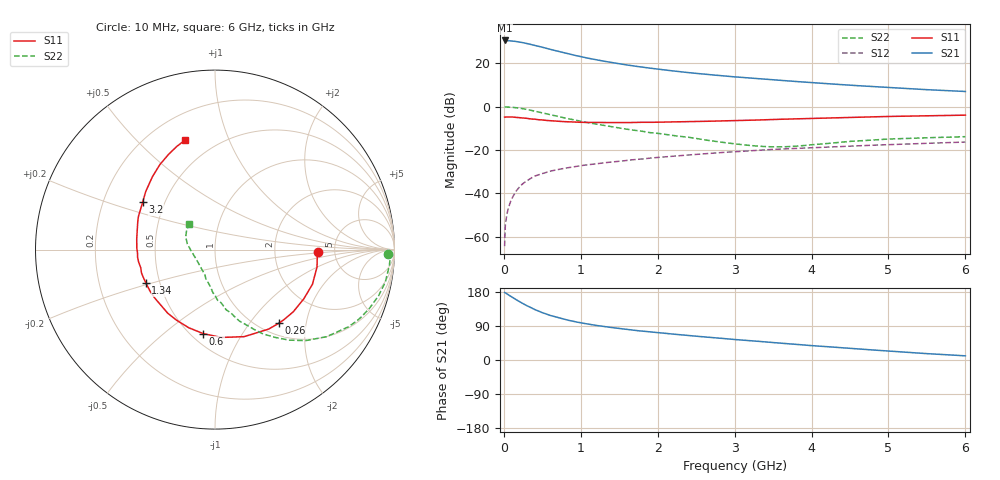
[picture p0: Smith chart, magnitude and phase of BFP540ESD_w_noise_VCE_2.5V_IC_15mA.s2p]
! Infineon Technologies  Discrete & RF Semiconductors
! BFP540ESD
! VCE =  2.5 V,  IC =  15 mA
! Common Emitter S-Parameters:  Nov 2015
# GHz  S  MA  R  50
!  f  S11  S21  S12  S22
! GHz  MAG  ANG  MAG  ANG  MAG  ANG  MAG  ANG
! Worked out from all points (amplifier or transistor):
!   210 points, 10 MHz to 6 GHz, reference 50 ohm
!   highest |S21| = 30.5 dB at 10 MHz (marker M1)
!   |S21| within 3 dB of that: start of sweep to 485.5 MHz
!   unconditionally stable (mu >= 1): start of sweep to 10.9 MHz; 2.37 GHz to end of sweep
!   at 185 MHz: K = 0.17, MSG = 33.9 dB, |S12| = -37.9 dB
!   at 1.52 GHz: K = 0.83, MSG = 22.4 dB, |S12| = -25.2 dB
!   at 6 GHz: K = 1.13, MAG = 9.5 dB, |S12| = -16.4 dB
!   lowest NFmin = 1.03 dB at 900 MHz
!   S11 on the Smith chart (normalised r, x): 10 MHz: 3.68, -0.16; 260 MHz: 1.21, -1.41; 600 MHz: 0.57, -0.69; 1.34 GHz: 0.42, -0.19; 3.2 GHz: 0.38, +0.26; 6 GHz: 0.35, +0.71
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0.01  0.573 -1.5  33.5 178.1  0.0006 97.5  0.9625 -1.4
0.02  0.5712 -4.3  32.96 177.3  0.0019 69.2  0.978 -1.8
0.035  0.5733 -7.0  33 175.2  0.0029 84.9  0.9764 -3.5
0.1  0.5763 -19.6  32.69 166.8  0.0072 83.0  0.9661 -10.7
0.145  0.566 -28.1  32.01 161.1  0.0102 77.8  0.9485 -15.3
0.2  0.5569 -38.5  30.91 154.4  0.0137 74.7  0.9204 -20.9
0.26  0.5431 -49.1  29.5 147.6  0.0173 72.4  0.8852 -26.6
0.3  0.5342 -56.0  28.54 143.2  0.0193 70.7  0.8585 -30.1
0.4  0.5115 -71.5  25.86 133.4  0.0248 65.8  0.7884 -38.0
0.5  0.4907 -85.9  23.39 124.9  0.0284 62.1  0.7168 -45.0
0.6  0.4726 -98.0  20.93 117.8  0.0322 58.3  0.6516 -50.7
0.8  0.4478 -118.7  17.07 106.5  0.0379 55.9  0.5411 -60.3
1.02  0.4318 -135.8  13.92 97.4  0.0437 53.5  0.4494 -67.9
1.34  0.4276 -154.4  10.83 87.4  0.0511 51.8  0.3554 -77.2
1.7  0.4313 -170.9  8.585 78.2  0.0598 50.3  0.2837 -86.9
2.02  0.436 178.1  7.23 71.7  0.067 48.7  0.2385 -93.0
2.54  0.4521 162.9  5.733 62.1  0.0796 45.8  0.1781 -104.8
3.1  0.4768 148.9  4.693 52.6  0.0928 42.0  0.1318 -123.8
3.2  0.4824 146.6  4.547 51.1  0.0953 41.2  0.1265 -128.8
4.1  0.5398 129.2  3.471 36.6  0.114 34.1  0.1354 -178.9
5.1  0.5948 114.7  2.693 22.2  0.1339 25.9  0.1801 154.3
6  0.6332 105.1  2.226 10.9  0.1516 19.6  0.2018 135.8
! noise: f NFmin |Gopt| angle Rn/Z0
0.9  1.03  0.22  -135  0.11
1.8  1.2  0.25  -147  0.1
2.4  1.21  0.25  -139  0.1
3  1.32  0.29  -136  0.11
4  1.4  0.41  -108  0.2
5  1.57  0.5  -90  0.3
6  1.83  0.54  -91  0.52
